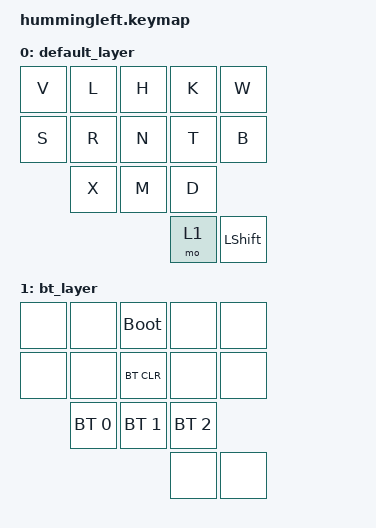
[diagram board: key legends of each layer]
#include <behaviors.dtsi>
#include <dt-bindings/zmk/keys.h>
#include <dt-bindings/zmk/bt.h>

/ {
    keymap {
        compatible = "zmk,keymap";

        default_layer {
            bindings = <
                &kp V   &kp L   &kp H   &kp K   &kp W
                &kp S   &kp R   &kp N   &kp T   &kp B
                        &kp X   &kp M   &kp D   
                                        &mo 1   &kp LSHFT
            >;
        };

        bt_layer {
            bindings = <
                &none   &none           &bootloader     &none           &none
                &none   &none           &bt BT_CLR      &none           &none
                        &bt BT_SEL 0    &bt BT_SEL 1    &bt BT_SEL 2
                                                        &none           &none
            >;
        };
    };
};
